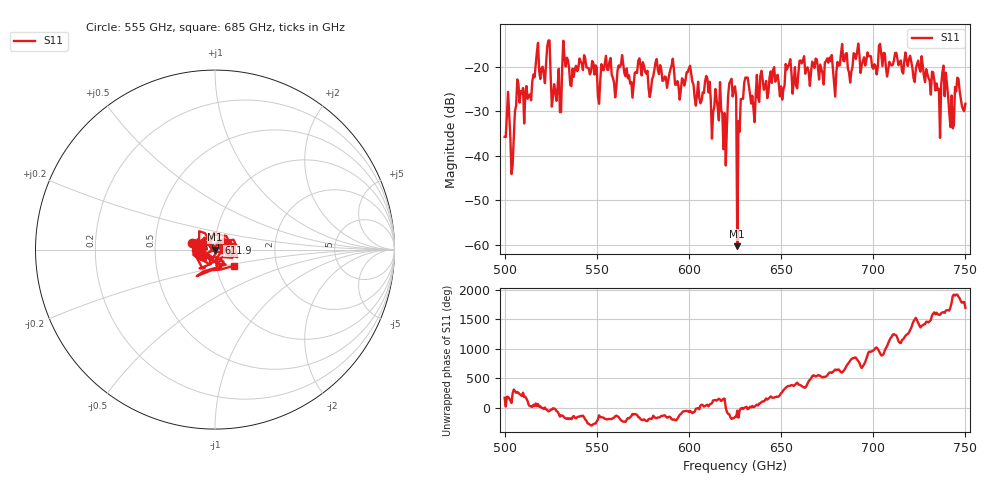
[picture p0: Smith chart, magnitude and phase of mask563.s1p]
!Created with skrf (http://scikit-rf.org).
# GHz S MA R 50.0
!freq magS11 angS11
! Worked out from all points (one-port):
!   401 points, 500 GHz to 750 GHz, reference 50 ohm
!   lowest |S11| = -60.3 dB at 626.2 GHz (marker M1), VSWR 1.00, Z = 50.1 - j0.0762 ohm
!   |S11| at or under -10 dB: start of sweep to end of sweep
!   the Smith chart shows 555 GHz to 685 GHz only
!   S11 on the Smith chart (normalised r, x): 555 GHz: 0.77, +0.06; 611.9 GHz: 1.04, +0.08; 685 GHz: 1.22, -0.22
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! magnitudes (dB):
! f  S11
! 500 GHz  -35.7
! 504.4 GHz  -42.1
! 506.9 GHz  -22.9
! 513.8 GHz  -26.3
! 516.9 GHz  -19.6
! 523.8 GHz  -14.1
! 526.9 GHz  -23.9
! 531.2 GHz  -20.0
! 555 GHz  -17.5
! 562.5 GHz  -20.1
! 593.8 GHz  -23.2
! 600 GHz  -20.4
! 611.9 GHz  -27.6
! 619.4 GHz  -30.4
! 623.8 GHz  -26.7
! 625 GHz  -24.4
! 626.2 GHz  -60.3
! 631.2 GHz  -22.4
! 635 GHz  -29.3
! 656.2 GHz  -26.0
! 685 GHz  -17.1
! 687.5 GHz  -23.6
! 718.8 GHz  -19.8
! 735 GHz  -25.2
! 738.8 GHz  -26.6
! 742.5 GHz  -26.5
! 745.6 GHz  -22.5
! 750 GHz  -28.3
